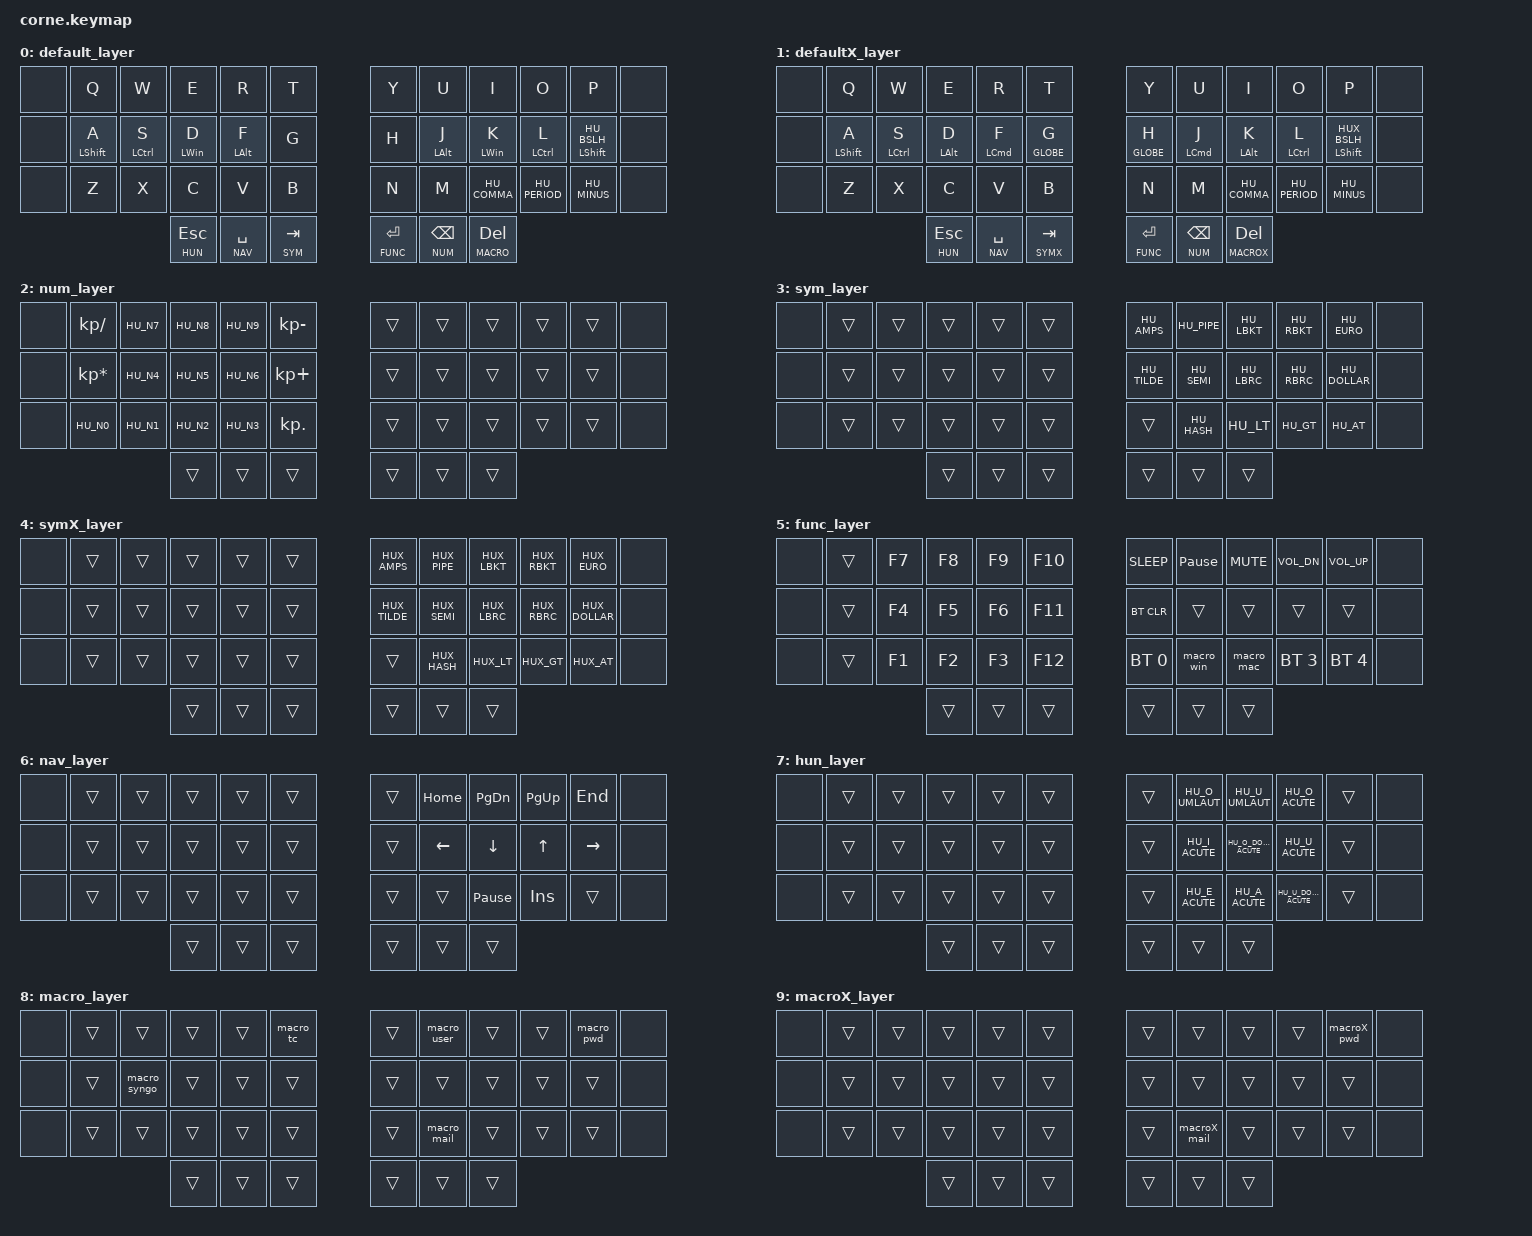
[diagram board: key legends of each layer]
#include <behaviors.dtsi>
#include <dt-bindings/zmk/keys.h>
#include <dt-bindings/zmk/bt.h>
#include "keys_hu.h"
#include "keys_hu_osx.h"

#define DEFAULT  0
#define DEFAULTX 1
#define NUM      2
#define SYM      3
#define SYMX     4
#define FUNC     5
#define NAV      6
#define HUN      7
#define MACRO    8
#define MACROX   9

/ {
    macros {
        ZMK_MACRO(
            macro_win,
            bindings = <&bt BT_SEL 1 &to DEFAULT>;
        )
        ZMK_MACRO(
            macro_mac,
            bindings = <&bt BT_SEL 2 &to DEFAULTX>;
        )
        ZMK_MACRO(
            macro_user,
            bindings =
                <&kp A &kp D &kp HU_N0 &kp HU_N0 &kp HU_N5 &kp HU_BACKSLASH &kp HU_Z &kp HU_N0 &kp HU_N0 &kp HU_N1 &kp T &kp X &kp N &kp J>;
        )
        ZMK_MACRO(
            macro_pwd,
            bindings =
                <&macro_tap &kp L &kp I &kp T &kp L &kp E &kp HU_N0 &kp HU_N8>,
                <&macro_press &kp LSHFT>,
                <&macro_tap &kp W &kp I &kp N &kp G>,
                <&macro_release &kp LSHFT>,
                <&macro_tap &kp HU_MINUS>;
        )
        ZMK_MACRO(
            macroX_pwd,
            bindings =
                <&macro_tap &kp K &kp O &kp K &kp I &kp R &kp I &kp HUX_N1>,
                <&macro_press &kp LSHFT>,
                <&macro_tap &kp F &kp O &kp R &kp E &kp S &kp T>,
                <&macro_release &kp LSHFT>,
                <&macro_tap &kp HUX_MINUS>;
        )
        ZMK_MACRO(
            macro_mail,
            bindings =
                <&kp HU_Z &kp O &kp L &kp T &kp A &kp N &kp HU_DOT &kp T &kp HU_Y &kp U &kp K &kp O &kp D &kp I &kp HU_DOT &kp E &kp X &kp T &kp HU_AT &kp S &kp I &kp E &kp M &kp E &kp N &kp S &kp HU_MINUS &kp H &kp E &kp A &kp L &kp T &kp H &kp I &kp N &kp E &kp E &kp R &kp S &kp HU_DOT &kp C &kp O &kp M>;
        )
        ZMK_MACRO(
            macroX_mail,
            bindings =
                <&kp T &kp HUX_Y &kp U &kp K &kp HU_N0 &kp D &kp HU_N1 &kp HUX_AT &kp I &kp C &kp L &kp O &kp U &kp D &kp HUX_DOT &kp C &kp O &kp M>;
        )
        ZMK_MACRO(
            macro_syngo,
            bindings =
                <&kp A &kp D &kp M &kp HU_DOLLAR &kp P &kp W &kp D &kp HU_DOLLAR &kp HU_N4 &kp HU_DOLLAR &kp M &kp E &kp D>;
        )
        ZMK_MACRO(
            macro_tc,
            bindings =
                <&kp LWIN &kp T &kp O &kp T &kp A &kp L &kp RET &kp TAB &kp TAB &kp RET>;
        )
    };

    keymap {
        compatible = "zmk,keymap";

        default_layer {
            bindings = <
                &none &kp       Q &kp       W &kp      E &kp        R &kp       T                   &kp Y        &kp        U &kp        I &kp         O &kp             P &none
                &none &mt LSHFT A &mt LCTRL S &mt LWIN D &mt LALT   F &kp       G                   &kp H        &mt LALT   J &mt LWIN   K &mt LCTRL   L &mt LSHFT HU_BSLH &none
                &none &kp       Z &kp       X &kp      C &kp        V &kp       B                   &kp N        &kp        M &kp HU_COMMA &kp HU_PERIOD &kp HU_MINUS      &none
                                            &lt HUN ESC &lt NAV SPACE &lt SYM TAB                   &lt FUNC RET &lt NUM BSPC &lt MACRO DEL
            >;
        };

        defaultX_layer {
            bindings = <
                &none &kp        Q &kp       W &kp       E &kp         R &kp        T                &kp       Y  &kp        U &kp          I &kp       O &kp               P &none
                &none &mt LSHIFT A &mt LCTRL S &mt LALT  D &mt LCMD    F &mt GLOBE  G                &mt GLOBE H  &mt LCMD   J &mt LALT     K &mt LCTRL L &mt LSHIFT HUX_BSLH &none
                &none &kp        Z &kp       X &kp       C &kp         V &kp        B                &kp       N  &kp        M &kp HU_COMMA &kp HU_PERIOD &kp HU_MINUS        &none
                                               &lt HUN ESC &lt NAV SPACE &lt SYMX TAB                &lt FUNC RET &lt NUM BSPC &lt MACROX DEL
            >;
        };

        num_layer {
            bindings = <
                &none &kp KP_DIVIDE   &kp HU_N7 &kp HU_N8 &kp HU_N9 &kp KP_MINUS                    &trans &trans &trans &trans &trans &none
                &none &kp KP_MULTIPLY &kp HU_N4 &kp HU_N5 &kp HU_N6 &kp KP_PLUS                     &trans &trans &trans &trans &trans &none
                &none &kp HU_N0       &kp HU_N1 &kp HU_N2 &kp HU_N3 &kp KP_DOT                      &trans &trans &trans &trans &trans &none
                                                &trans    &trans    &trans                          &trans &trans &trans
            >;
        };

        sym_layer {
            bindings = <
                &none &trans &trans &trans &trans &trans                                            &kp HU_AMPS  &kp HU_PIPE &kp HU_LBKT &kp HU_RBKT &kp HU_EURO   &none
                &none &trans &trans &trans &trans &trans                                            &kp HU_TILDE &kp HU_SEMI &kp HU_LBRC &kp HU_RBRC &kp HU_DOLLAR &none
                &none &trans &trans &trans &trans &trans                                            &trans       &kp HU_HASH &kp HU_LT   &kp HU_GT   &kp HU_AT     &none
                                    &trans &trans &trans                                            &trans       &trans      &trans
            >;
        };

         symX_layer {
            bindings = <
                &none &trans &trans &trans &trans &trans                                            &kp HUX_AMPS  &kp HUX_PIPE &kp HUX_LBKT &kp HUX_RBKT &kp HUX_EURO   &none
                &none &trans &trans &trans &trans &trans                                            &kp HUX_TILDE &kp HUX_SEMI &kp HUX_LBRC &kp HUX_RBRC &kp HUX_DOLLAR &none
                &none &trans &trans &trans &trans &trans                                            &trans        &kp HUX_HASH &kp HUX_LT   &kp HUX_GT   &kp HUX_AT     &none
                                    &trans &trans &trans                                            &trans        &trans       &trans
            >;
        };

        func_layer {
            bindings = <
                &none &trans &kp F7 &kp F8 &kp F9 &kp F10                                           &kp C_SLEEP  &kp PAUSE_BREAK &kp C_MUTE &kp C_VOL_DN &kp C_VOL_UP &none
                &none &trans &kp F4 &kp F5 &kp F6 &kp F11                                           &bt BT_CLR   &trans          &trans     &trans       &trans       &none
                &none &trans &kp F1 &kp F2 &kp F3 &kp F12                                           &bt BT_SEL 0 &macro_win      &macro_mac &bt BT_SEL 3 &bt BT_SEL 4 &none
                                    &trans &trans  &trans                                           &trans &trans &trans
            >;
        };

        nav_layer {
            bindings = <
                &none &trans &trans &trans &trans &trans                                            &trans &kp HOME &kp PG_DN       &kp PG_UP &kp END   &none
                &none &trans &trans &trans &trans &trans                                            &trans &kp LEFT &kp DOWN        &kp UP    &kp RIGHT &none
                &none &trans &trans &trans &trans &trans                                            &trans &trans   &kp PAUSE_BREAK &kp INS   &trans    &none
                                    &trans &trans &trans                                            &trans &trans   &trans
            >;
        };

        hun_layer {
            bindings = <
                &none &trans &trans &trans &trans &trans                                            &trans &kp HU_O_UMLAUT &kp HU_U_UMLAUT       &kp HU_O_ACUTE        &trans &none
                &none &trans &trans &trans &trans &trans                                            &trans &kp HU_I_ACUTE  &kp HU_O_DOUBLE_ACUTE &kp HU_U_ACUTE        &trans &none
                &none &trans &trans &trans &trans &trans                                            &trans &kp HU_E_ACUTE  &kp HU_A_ACUTE        &kp HU_U_DOUBLE_ACUTE &trans &none
                                    &trans &trans &trans                                            &trans &trans &trans
            >;
        };

        macro_layer {
            bindings = <
                &none &trans &trans       &trans &trans &macro_tc                                    &trans &macro_user &trans &trans &macro_pwd &none
                &none &trans &macro_syngo &trans &trans &trans                                       &trans &trans      &trans &trans &trans     &none
                &none &trans &trans       &trans &trans &trans                                       &trans &macro_mail &trans &trans &trans     &none
                                          &trans &trans &trans                                       &trans &trans      &trans
            >;
        };

        macroX_layer {
            bindings = <
                &none &trans &trans &trans &trans &trans                                             &trans &trans       &trans &trans &macroX_pwd &none
                &none &trans &trans &trans &trans &trans                                             &trans &trans       &trans &trans &trans      &none
                &none &trans &trans &trans &trans &trans                                             &trans &macroX_mail &trans &trans &trans      &none
                                    &trans &trans &trans                                             &trans &trans       &trans
            >;
        };
    };
};
